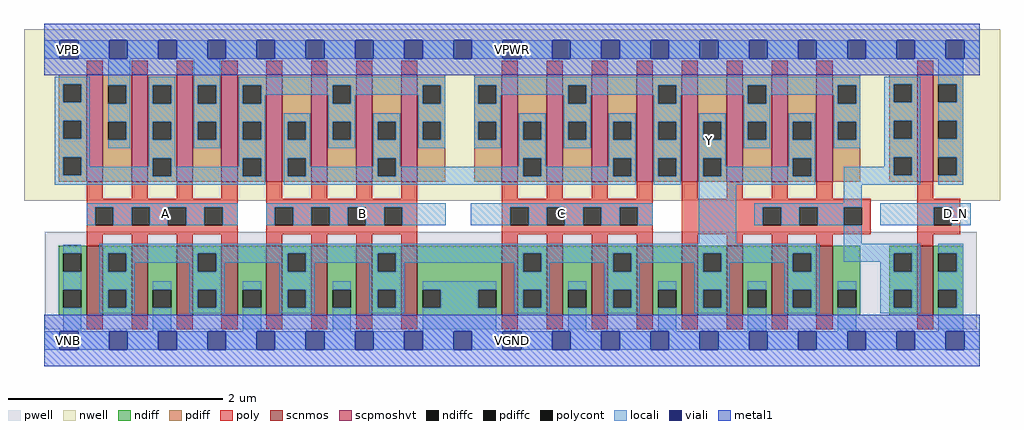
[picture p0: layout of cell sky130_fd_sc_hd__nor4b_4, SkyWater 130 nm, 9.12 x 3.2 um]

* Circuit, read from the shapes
.subckt sky130_fd_sc_hd__nor4b_4 A B C D_N VGND VNB VPB VPWR Y
XM1 Y A VGND VNB sky130_fd_pr__nfet_01v8 w=0.65 l=0.15 m=4
XM2 Y B VGND VNB sky130_fd_pr__nfet_01v8 w=0.65 l=0.15 m=4
XM3 Y C VGND VNB sky130_fd_pr__nfet_01v8 w=0.65 l=0.15 m=4
XM4 Y n1 VGND VNB sky130_fd_pr__nfet_01v8 w=0.65 l=0.15 m=4
XM5 VGND D_N n1 VNB sky130_fd_pr__nfet_01v8 w=0.65 l=0.15
XM6 VPWR A n2 VPB sky130_fd_pr__pfet_01v8_hvt w=1 l=0.15 m=4
XM7 n3 B n2 VPB sky130_fd_pr__pfet_01v8_hvt w=1 l=0.15 m=4
XM8 n3 C n4 VPB sky130_fd_pr__pfet_01v8_hvt w=1 l=0.15 m=4
XM9 Y n1 n4 VPB sky130_fd_pr__pfet_01v8_hvt w=1 l=0.15 m=4
XM10 VPWR D_N n1 VPB sky130_fd_pr__pfet_01v8_hvt w=1 l=0.15
.ends

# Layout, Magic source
magic
tech sky130B
magscale 1 2
<< nwell >>
rect -38 261 1786 582
<< pwell >>
rect 1 21 1743 203
rect 29 -17 63 21
<< scnmos >>
rect 79 47 109 177
rect 163 47 193 177
rect 247 47 277 177
rect 331 47 361 177
rect 415 47 445 177
rect 499 47 529 177
rect 583 47 613 177
rect 667 47 697 177
rect 855 47 885 177
rect 939 47 969 177
rect 1023 47 1053 177
rect 1107 47 1137 177
rect 1191 47 1221 177
rect 1275 47 1305 177
rect 1359 47 1389 177
rect 1443 47 1473 177
rect 1631 47 1661 177
<< scpmoshvt >>
rect 79 297 109 497
rect 163 297 193 497
rect 247 297 277 497
rect 331 297 361 497
rect 415 297 445 497
rect 499 297 529 497
rect 583 297 613 497
rect 667 297 697 497
rect 855 297 885 497
rect 939 297 969 497
rect 1023 297 1053 497
rect 1107 297 1137 497
rect 1191 297 1221 497
rect 1275 297 1305 497
rect 1359 297 1389 497
rect 1443 297 1473 497
rect 1631 297 1661 497
<< ndiff >>
rect 27 163 79 177
rect 27 129 35 163
rect 69 129 79 163
rect 27 95 79 129
rect 27 61 35 95
rect 69 61 79 95
rect 27 47 79 61
rect 109 163 163 177
rect 109 129 119 163
rect 153 129 163 163
rect 109 95 163 129
rect 109 61 119 95
rect 153 61 163 95
rect 109 47 163 61
rect 193 95 247 177
rect 193 61 203 95
rect 237 61 247 95
rect 193 47 247 61
rect 277 163 331 177
rect 277 129 287 163
rect 321 129 331 163
rect 277 95 331 129
rect 277 61 287 95
rect 321 61 331 95
rect 277 47 331 61
rect 361 95 415 177
rect 361 61 371 95
rect 405 61 415 95
rect 361 47 415 61
rect 445 163 499 177
rect 445 129 455 163
rect 489 129 499 163
rect 445 95 499 129
rect 445 61 455 95
rect 489 61 499 95
rect 445 47 499 61
rect 529 95 583 177
rect 529 61 539 95
rect 573 61 583 95
rect 529 47 583 61
rect 613 163 667 177
rect 613 129 623 163
rect 657 129 667 163
rect 613 95 667 129
rect 613 61 623 95
rect 657 61 667 95
rect 613 47 667 61
rect 697 95 855 177
rect 697 61 707 95
rect 741 61 811 95
rect 845 61 855 95
rect 697 47 855 61
rect 885 163 939 177
rect 885 129 895 163
rect 929 129 939 163
rect 885 95 939 129
rect 885 61 895 95
rect 929 61 939 95
rect 885 47 939 61
rect 969 95 1023 177
rect 969 61 979 95
rect 1013 61 1023 95
rect 969 47 1023 61
rect 1053 163 1107 177
rect 1053 129 1063 163
rect 1097 129 1107 163
rect 1053 95 1107 129
rect 1053 61 1063 95
rect 1097 61 1107 95
rect 1053 47 1107 61
rect 1137 95 1191 177
rect 1137 61 1147 95
rect 1181 61 1191 95
rect 1137 47 1191 61
rect 1221 163 1275 177
rect 1221 129 1231 163
rect 1265 129 1275 163
rect 1221 95 1275 129
rect 1221 61 1231 95
rect 1265 61 1275 95
rect 1221 47 1275 61
rect 1305 95 1359 177
rect 1305 61 1315 95
rect 1349 61 1359 95
rect 1305 47 1359 61
rect 1389 163 1443 177
rect 1389 129 1399 163
rect 1433 129 1443 163
rect 1389 95 1443 129
rect 1389 61 1399 95
rect 1433 61 1443 95
rect 1389 47 1443 61
rect 1473 95 1525 177
rect 1473 61 1483 95
rect 1517 61 1525 95
rect 1473 47 1525 61
rect 1579 163 1631 177
rect 1579 129 1587 163
rect 1621 129 1631 163
rect 1579 95 1631 129
rect 1579 61 1587 95
rect 1621 61 1631 95
rect 1579 47 1631 61
rect 1661 163 1717 177
rect 1661 129 1671 163
rect 1705 129 1717 163
rect 1661 95 1717 129
rect 1661 61 1671 95
rect 1705 61 1717 95
rect 1661 47 1717 61
<< pdiff >>
rect 27 479 79 497
rect 27 445 35 479
rect 69 445 79 479
rect 27 411 79 445
rect 27 377 35 411
rect 69 377 79 411
rect 27 343 79 377
rect 27 309 35 343
rect 69 309 79 343
rect 27 297 79 309
rect 109 477 163 497
rect 109 443 119 477
rect 153 443 163 477
rect 109 409 163 443
rect 109 375 119 409
rect 153 375 163 409
rect 109 297 163 375
rect 193 477 247 497
rect 193 443 203 477
rect 237 443 247 477
rect 193 409 247 443
rect 193 375 203 409
rect 237 375 247 409
rect 193 341 247 375
rect 193 307 203 341
rect 237 307 247 341
rect 193 297 247 307
rect 277 477 331 497
rect 277 443 287 477
rect 321 443 331 477
rect 277 409 331 443
rect 277 375 287 409
rect 321 375 331 409
rect 277 297 331 375
rect 361 477 415 497
rect 361 443 371 477
rect 405 443 415 477
rect 361 409 415 443
rect 361 375 371 409
rect 405 375 415 409
rect 361 341 415 375
rect 361 307 371 341
rect 405 307 415 341
rect 361 297 415 307
rect 445 409 499 497
rect 445 375 455 409
rect 489 375 499 409
rect 445 341 499 375
rect 445 307 455 341
rect 489 307 499 341
rect 445 297 499 307
rect 529 477 583 497
rect 529 443 539 477
rect 573 443 583 477
rect 529 409 583 443
rect 529 375 539 409
rect 573 375 583 409
rect 529 297 583 375
rect 613 409 667 497
rect 613 375 623 409
rect 657 375 667 409
rect 613 341 667 375
rect 613 307 623 341
rect 657 307 667 341
rect 613 297 667 307
rect 697 477 749 497
rect 697 443 707 477
rect 741 443 749 477
rect 697 409 749 443
rect 697 375 707 409
rect 741 375 749 409
rect 697 297 749 375
rect 803 477 855 497
rect 803 443 811 477
rect 845 443 855 477
rect 803 409 855 443
rect 803 375 811 409
rect 845 375 855 409
rect 803 297 855 375
rect 885 409 939 497
rect 885 375 895 409
rect 929 375 939 409
rect 885 341 939 375
rect 885 307 895 341
rect 929 307 939 341
rect 885 297 939 307
rect 969 477 1023 497
rect 969 443 979 477
rect 1013 443 1023 477
rect 969 409 1023 443
rect 969 375 979 409
rect 1013 375 1023 409
rect 969 297 1023 375
rect 1053 409 1107 497
rect 1053 375 1063 409
rect 1097 375 1107 409
rect 1053 341 1107 375
rect 1053 307 1063 341
rect 1097 307 1107 341
rect 1053 297 1107 307
rect 1137 477 1191 497
rect 1137 443 1147 477
rect 1181 443 1191 477
rect 1137 409 1191 443
rect 1137 375 1147 409
rect 1181 375 1191 409
rect 1137 341 1191 375
rect 1137 307 1147 341
rect 1181 307 1191 341
rect 1137 297 1191 307
rect 1221 409 1275 497
rect 1221 375 1231 409
rect 1265 375 1275 409
rect 1221 341 1275 375
rect 1221 307 1231 341
rect 1265 307 1275 341
rect 1221 297 1275 307
rect 1305 477 1359 497
rect 1305 443 1315 477
rect 1349 443 1359 477
rect 1305 409 1359 443
rect 1305 375 1315 409
rect 1349 375 1359 409
rect 1305 297 1359 375
rect 1389 409 1443 497
rect 1389 375 1399 409
rect 1433 375 1443 409
rect 1389 341 1443 375
rect 1389 307 1399 341
rect 1433 307 1443 341
rect 1389 297 1443 307
rect 1473 477 1525 497
rect 1473 443 1483 477
rect 1517 443 1525 477
rect 1473 409 1525 443
rect 1473 375 1483 409
rect 1517 375 1525 409
rect 1473 297 1525 375
rect 1579 479 1631 497
rect 1579 445 1587 479
rect 1621 445 1631 479
rect 1579 411 1631 445
rect 1579 377 1587 411
rect 1621 377 1631 411
rect 1579 343 1631 377
rect 1579 309 1587 343
rect 1621 309 1631 343
rect 1579 297 1631 309
rect 1661 479 1717 497
rect 1661 445 1671 479
rect 1705 445 1717 479
rect 1661 411 1717 445
rect 1661 377 1671 411
rect 1705 377 1717 411
rect 1661 343 1717 377
rect 1661 309 1671 343
rect 1705 309 1717 343
rect 1661 297 1717 309
<< ndiffc >>
rect 35 129 69 163
rect 35 61 69 95
rect 119 129 153 163
rect 119 61 153 95
rect 203 61 237 95
rect 287 129 321 163
rect 287 61 321 95
rect 371 61 405 95
rect 455 129 489 163
rect 455 61 489 95
rect 539 61 573 95
rect 623 129 657 163
rect 623 61 657 95
rect 707 61 741 95
rect 811 61 845 95
rect 895 129 929 163
rect 895 61 929 95
rect 979 61 1013 95
rect 1063 129 1097 163
rect 1063 61 1097 95
rect 1147 61 1181 95
rect 1231 129 1265 163
rect 1231 61 1265 95
rect 1315 61 1349 95
rect 1399 129 1433 163
rect 1399 61 1433 95
rect 1483 61 1517 95
rect 1587 129 1621 163
rect 1587 61 1621 95
rect 1671 129 1705 163
rect 1671 61 1705 95
<< pdiffc >>
rect 35 445 69 479
rect 35 377 69 411
rect 35 309 69 343
rect 119 443 153 477
rect 119 375 153 409
rect 203 443 237 477
rect 203 375 237 409
rect 203 307 237 341
rect 287 443 321 477
rect 287 375 321 409
rect 371 443 405 477
rect 371 375 405 409
rect 371 307 405 341
rect 455 375 489 409
rect 455 307 489 341
rect 539 443 573 477
rect 539 375 573 409
rect 623 375 657 409
rect 623 307 657 341
rect 707 443 741 477
rect 707 375 741 409
rect 811 443 845 477
rect 811 375 845 409
rect 895 375 929 409
rect 895 307 929 341
rect 979 443 1013 477
rect 979 375 1013 409
rect 1063 375 1097 409
rect 1063 307 1097 341
rect 1147 443 1181 477
rect 1147 375 1181 409
rect 1147 307 1181 341
rect 1231 375 1265 409
rect 1231 307 1265 341
rect 1315 443 1349 477
rect 1315 375 1349 409
rect 1399 375 1433 409
rect 1399 307 1433 341
rect 1483 443 1517 477
rect 1483 375 1517 409
rect 1587 445 1621 479
rect 1587 377 1621 411
rect 1587 309 1621 343
rect 1671 445 1705 479
rect 1671 377 1705 411
rect 1671 309 1705 343
<< poly >>
rect 79 497 109 523
rect 163 497 193 523
rect 247 497 277 523
rect 331 497 361 523
rect 415 497 445 523
rect 499 497 529 523
rect 583 497 613 523
rect 667 497 697 523
rect 855 497 885 523
rect 939 497 969 523
rect 1023 497 1053 523
rect 1107 497 1137 523
rect 1191 497 1221 523
rect 1275 497 1305 523
rect 1359 497 1389 523
rect 1443 497 1473 523
rect 1631 497 1661 523
rect 79 265 109 297
rect 163 265 193 297
rect 247 265 277 297
rect 331 265 361 297
rect 79 249 361 265
rect 79 215 95 249
rect 129 215 163 249
rect 197 215 231 249
rect 265 215 299 249
rect 333 215 361 249
rect 79 199 361 215
rect 79 177 109 199
rect 163 177 193 199
rect 247 177 277 199
rect 331 177 361 199
rect 415 265 445 297
rect 499 265 529 297
rect 583 265 613 297
rect 667 265 697 297
rect 415 249 697 265
rect 415 215 431 249
rect 465 215 499 249
rect 533 215 567 249
rect 601 215 635 249
rect 669 215 697 249
rect 415 199 697 215
rect 415 177 445 199
rect 499 177 529 199
rect 583 177 613 199
rect 667 177 697 199
rect 855 265 885 297
rect 939 265 969 297
rect 1023 265 1053 297
rect 1107 265 1137 297
rect 855 249 1137 265
rect 855 215 871 249
rect 905 215 939 249
rect 973 215 1007 249
rect 1041 215 1075 249
rect 1109 215 1137 249
rect 855 199 1137 215
rect 855 177 885 199
rect 939 177 969 199
rect 1023 177 1053 199
rect 1107 177 1137 199
rect 1191 265 1221 297
rect 1275 265 1305 297
rect 1359 265 1389 297
rect 1443 265 1473 297
rect 1631 265 1661 297
rect 1191 249 1544 265
rect 1191 215 1343 249
rect 1377 215 1411 249
rect 1445 215 1494 249
rect 1528 215 1544 249
rect 1191 199 1544 215
rect 1631 249 1712 265
rect 1631 215 1662 249
rect 1696 215 1712 249
rect 1631 199 1712 215
rect 1191 177 1221 199
rect 1275 177 1305 199
rect 1359 177 1389 199
rect 1443 177 1473 199
rect 1631 177 1661 199
rect 79 21 109 47
rect 163 21 193 47
rect 247 21 277 47
rect 331 21 361 47
rect 415 21 445 47
rect 499 21 529 47
rect 583 21 613 47
rect 667 21 697 47
rect 855 21 885 47
rect 939 21 969 47
rect 1023 21 1053 47
rect 1107 21 1137 47
rect 1191 21 1221 47
rect 1275 21 1305 47
rect 1359 21 1389 47
rect 1443 21 1473 47
rect 1631 21 1661 47
<< polycont >>
rect 95 215 129 249
rect 163 215 197 249
rect 231 215 265 249
rect 299 215 333 249
rect 431 215 465 249
rect 499 215 533 249
rect 567 215 601 249
rect 635 215 669 249
rect 871 215 905 249
rect 939 215 973 249
rect 1007 215 1041 249
rect 1075 215 1109 249
rect 1343 215 1377 249
rect 1411 215 1445 249
rect 1494 215 1528 249
rect 1662 215 1696 249
<< locali >>
rect 0 527 29 561
rect 63 527 121 561
rect 155 527 213 561
rect 247 527 305 561
rect 339 527 397 561
rect 431 527 489 561
rect 523 527 581 561
rect 615 527 673 561
rect 707 527 765 561
rect 799 527 857 561
rect 891 527 949 561
rect 983 527 1041 561
rect 1075 527 1133 561
rect 1167 527 1225 561
rect 1259 527 1317 561
rect 1351 527 1409 561
rect 1443 527 1501 561
rect 1535 527 1593 561
rect 1627 527 1685 561
rect 1719 527 1748 561
rect 19 479 85 493
rect 19 445 35 479
rect 69 445 85 479
rect 19 411 85 445
rect 19 377 35 411
rect 69 377 85 411
rect 19 343 85 377
rect 119 477 161 527
rect 153 443 161 477
rect 119 409 161 443
rect 153 375 161 409
rect 119 359 161 375
rect 195 477 245 493
rect 195 443 203 477
rect 237 443 245 477
rect 195 409 245 443
rect 195 375 203 409
rect 237 375 245 409
rect 19 309 35 343
rect 69 325 85 343
rect 195 341 245 375
rect 279 477 329 527
rect 279 443 287 477
rect 321 443 329 477
rect 279 409 329 443
rect 279 375 287 409
rect 321 375 329 409
rect 279 359 329 375
rect 363 477 749 493
rect 363 443 371 477
rect 405 459 539 477
rect 405 443 413 459
rect 363 409 413 443
rect 531 443 539 459
rect 573 459 707 477
rect 573 443 581 459
rect 363 375 371 409
rect 405 375 413 409
rect 195 325 203 341
rect 69 309 203 325
rect 19 307 203 309
rect 237 325 245 341
rect 363 341 413 375
rect 363 325 371 341
rect 237 307 371 325
rect 405 307 413 341
rect 19 291 413 307
rect 447 409 497 425
rect 447 375 455 409
rect 489 375 497 409
rect 447 341 497 375
rect 531 409 581 443
rect 699 443 707 459
rect 741 443 749 477
rect 531 375 539 409
rect 573 375 581 409
rect 531 359 581 375
rect 615 409 665 425
rect 615 375 623 409
rect 657 375 665 409
rect 447 307 455 341
rect 489 325 497 341
rect 615 341 665 375
rect 699 409 749 443
rect 699 375 707 409
rect 741 375 749 409
rect 699 359 749 375
rect 803 477 1525 493
rect 803 443 811 477
rect 845 459 979 477
rect 845 443 853 459
rect 803 409 853 443
rect 971 443 979 459
rect 1013 459 1147 477
rect 1013 443 1021 459
rect 803 375 811 409
rect 845 375 853 409
rect 803 359 853 375
rect 887 409 937 425
rect 887 375 895 409
rect 929 375 937 409
rect 615 325 623 341
rect 489 307 623 325
rect 657 325 665 341
rect 887 341 937 375
rect 971 409 1021 443
rect 1139 443 1147 459
rect 1181 459 1315 477
rect 1181 443 1189 459
rect 971 375 979 409
rect 1013 375 1021 409
rect 971 359 1021 375
rect 1055 409 1105 425
rect 1055 375 1063 409
rect 1097 375 1105 409
rect 887 325 895 341
rect 657 307 895 325
rect 929 325 937 341
rect 1055 341 1105 375
rect 1055 325 1063 341
rect 929 307 1063 325
rect 1097 307 1105 341
rect 447 291 1105 307
rect 1139 409 1189 443
rect 1307 443 1315 459
rect 1349 459 1483 477
rect 1349 443 1357 459
rect 1139 375 1147 409
rect 1181 375 1189 409
rect 1139 341 1189 375
rect 1139 307 1147 341
rect 1181 307 1189 341
rect 1139 291 1189 307
rect 1223 409 1273 425
rect 1223 375 1231 409
rect 1265 375 1273 409
rect 1223 341 1273 375
rect 1307 409 1357 443
rect 1475 443 1483 459
rect 1517 443 1525 477
rect 1307 375 1315 409
rect 1349 375 1357 409
rect 1307 359 1357 375
rect 1391 409 1441 425
rect 1391 375 1399 409
rect 1433 375 1441 409
rect 1223 307 1231 341
rect 1265 325 1273 341
rect 1391 341 1441 375
rect 1475 409 1525 443
rect 1475 375 1483 409
rect 1517 375 1525 409
rect 1475 359 1525 375
rect 1570 479 1637 493
rect 1570 445 1587 479
rect 1621 445 1637 479
rect 1570 411 1637 445
rect 1570 377 1587 411
rect 1621 377 1637 411
rect 1391 325 1399 341
rect 1265 307 1399 325
rect 1433 307 1441 341
rect 1570 343 1637 377
rect 1570 325 1587 343
rect 1223 291 1441 307
rect 1494 309 1587 325
rect 1621 309 1637 343
rect 1494 291 1637 309
rect 1671 479 1717 527
rect 1705 445 1717 479
rect 1671 411 1717 445
rect 1705 377 1717 411
rect 1671 343 1717 377
rect 1705 309 1717 343
rect 1671 291 1717 309
rect 79 249 361 257
rect 79 215 95 249
rect 129 215 163 249
rect 197 215 231 249
rect 265 215 299 249
rect 333 215 361 249
rect 415 249 750 257
rect 415 215 431 249
rect 465 215 499 249
rect 533 215 567 249
rect 601 215 635 249
rect 669 215 750 249
rect 797 249 1137 257
rect 797 215 871 249
rect 905 215 939 249
rect 973 215 1007 249
rect 1041 215 1075 249
rect 1109 215 1137 249
rect 1223 181 1293 291
rect 1494 257 1528 291
rect 1327 249 1528 257
rect 1327 215 1343 249
rect 1377 215 1411 249
rect 1445 215 1494 249
rect 1562 249 1731 257
rect 1562 215 1662 249
rect 1696 215 1731 249
rect 1494 181 1528 215
rect 35 163 69 179
rect 35 95 69 129
rect 35 17 69 61
rect 103 163 1449 181
rect 103 129 119 163
rect 153 145 287 163
rect 153 129 169 145
rect 103 95 169 129
rect 271 129 287 145
rect 321 145 455 163
rect 321 129 337 145
rect 103 61 119 95
rect 153 61 169 95
rect 103 51 169 61
rect 203 95 237 111
rect 203 17 237 61
rect 271 95 337 129
rect 439 129 455 145
rect 489 145 623 163
rect 489 129 505 145
rect 271 61 287 95
rect 321 61 337 95
rect 271 51 337 61
rect 371 95 405 111
rect 371 17 405 61
rect 439 95 505 129
rect 607 129 623 145
rect 657 145 895 163
rect 657 129 673 145
rect 439 61 455 95
rect 489 61 505 95
rect 439 51 505 61
rect 539 95 573 111
rect 539 17 573 61
rect 607 95 673 129
rect 879 129 895 145
rect 929 145 1063 163
rect 929 129 945 145
rect 607 61 623 95
rect 657 61 673 95
rect 607 51 673 61
rect 707 95 845 111
rect 741 61 811 95
rect 707 17 845 61
rect 879 95 945 129
rect 1047 129 1063 145
rect 1097 145 1231 163
rect 1097 129 1113 145
rect 879 61 895 95
rect 929 61 945 95
rect 879 51 945 61
rect 979 95 1013 111
rect 979 17 1013 61
rect 1047 95 1113 129
rect 1215 129 1231 145
rect 1265 145 1399 163
rect 1265 129 1281 145
rect 1047 61 1063 95
rect 1097 61 1113 95
rect 1047 51 1113 61
rect 1147 95 1181 111
rect 1147 17 1181 61
rect 1215 95 1281 129
rect 1383 129 1399 145
rect 1433 129 1449 163
rect 1494 163 1637 181
rect 1494 147 1587 163
rect 1215 61 1231 95
rect 1265 61 1281 95
rect 1215 51 1281 61
rect 1315 95 1349 111
rect 1315 17 1349 61
rect 1383 95 1449 129
rect 1562 129 1587 147
rect 1621 129 1637 163
rect 1383 61 1399 95
rect 1433 61 1449 95
rect 1383 51 1449 61
rect 1483 95 1517 111
rect 1483 17 1517 61
rect 1562 95 1637 129
rect 1562 61 1587 95
rect 1621 61 1637 95
rect 1562 51 1637 61
rect 1671 163 1717 181
rect 1705 129 1717 163
rect 1671 95 1717 129
rect 1705 61 1717 95
rect 1671 17 1717 61
rect 0 -17 29 17
rect 63 -17 121 17
rect 155 -17 213 17
rect 247 -17 305 17
rect 339 -17 397 17
rect 431 -17 489 17
rect 523 -17 581 17
rect 615 -17 673 17
rect 707 -17 765 17
rect 799 -17 857 17
rect 891 -17 949 17
rect 983 -17 1041 17
rect 1075 -17 1133 17
rect 1167 -17 1225 17
rect 1259 -17 1317 17
rect 1351 -17 1409 17
rect 1443 -17 1501 17
rect 1535 -17 1593 17
rect 1627 -17 1685 17
rect 1719 -17 1748 17
<< viali >>
rect 29 527 63 561
rect 121 527 155 561
rect 213 527 247 561
rect 305 527 339 561
rect 397 527 431 561
rect 489 527 523 561
rect 581 527 615 561
rect 673 527 707 561
rect 765 527 799 561
rect 857 527 891 561
rect 949 527 983 561
rect 1041 527 1075 561
rect 1133 527 1167 561
rect 1225 527 1259 561
rect 1317 527 1351 561
rect 1409 527 1443 561
rect 1501 527 1535 561
rect 1593 527 1627 561
rect 1685 527 1719 561
rect 29 -17 63 17
rect 121 -17 155 17
rect 213 -17 247 17
rect 305 -17 339 17
rect 397 -17 431 17
rect 489 -17 523 17
rect 581 -17 615 17
rect 673 -17 707 17
rect 765 -17 799 17
rect 857 -17 891 17
rect 949 -17 983 17
rect 1041 -17 1075 17
rect 1133 -17 1167 17
rect 1225 -17 1259 17
rect 1317 -17 1351 17
rect 1409 -17 1443 17
rect 1501 -17 1535 17
rect 1593 -17 1627 17
rect 1685 -17 1719 17
<< metal1 >>
rect 0 561 1748 592
rect 0 527 29 561
rect 63 527 121 561
rect 155 527 213 561
rect 247 527 305 561
rect 339 527 397 561
rect 431 527 489 561
rect 523 527 581 561
rect 615 527 673 561
rect 707 527 765 561
rect 799 527 857 561
rect 891 527 949 561
rect 983 527 1041 561
rect 1075 527 1133 561
rect 1167 527 1225 561
rect 1259 527 1317 561
rect 1351 527 1409 561
rect 1443 527 1501 561
rect 1535 527 1593 561
rect 1627 527 1685 561
rect 1719 527 1748 561
rect 0 496 1748 527
rect 0 17 1748 48
rect 0 -17 29 17
rect 63 -17 121 17
rect 155 -17 213 17
rect 247 -17 305 17
rect 339 -17 397 17
rect 431 -17 489 17
rect 523 -17 581 17
rect 615 -17 673 17
rect 707 -17 765 17
rect 799 -17 857 17
rect 891 -17 949 17
rect 983 -17 1041 17
rect 1075 -17 1133 17
rect 1167 -17 1225 17
rect 1259 -17 1317 17
rect 1351 -17 1409 17
rect 1443 -17 1501 17
rect 1535 -17 1593 17
rect 1627 -17 1685 17
rect 1719 -17 1748 17
rect 0 -48 1748 -17
<< labels >>
flabel locali s 578 221 612 255 0 FreeSans 400 0 0 0 B
port 2 nsew signal input
flabel locali s 210 221 244 255 0 FreeSans 400 0 0 0 A
port 1 nsew signal input
flabel locali s 1686 221 1720 255 0 FreeSans 400 0 0 0 D_N
port 4 nsew signal input
flabel locali s 950 221 984 255 0 FreeSans 400 0 0 0 C
port 3 nsew signal input
flabel locali s 1226 357 1260 391 0 FreeSans 400 0 0 0 Y
port 9 nsew signal output
flabel nwell s 29 527 63 561 0 FreeSans 200 0 0 0 VPB
port 7 nsew power bidirectional
flabel pwell s 29 -17 63 17 0 FreeSans 200 0 0 0 VNB
port 6 nsew ground bidirectional
flabel metal1 s 29 -17 63 17 0 FreeSans 200 0 0 0 VGND
port 5 nsew ground bidirectional abutment
flabel metal1 s 29 527 63 561 0 FreeSans 200 0 0 0 VPWR
port 8 nsew power bidirectional abutment
rlabel comment s 0 0 0 0 4 nor4b_4
rlabel metal1 s 0 -48 1748 48 1 VGND
port 5 nsew ground bidirectional abutment
rlabel metal1 s 0 496 1748 592 1 VPWR
port 8 nsew power bidirectional abutment
<< properties >>
string FIXED_BBOX 0 0 1748 544
string GDS_END 1176310
string GDS_FILE $PDKPATH/libs.ref/sky130_fd_sc_hd/gds/sky130_fd_sc_hd.gds
string GDS_START 1162816
string LEFclass CORE
string LEFsite unithd
string LEFsymmetry X Y R90
string path 0.000 0.000 8.740 0.000 
<< end >>
